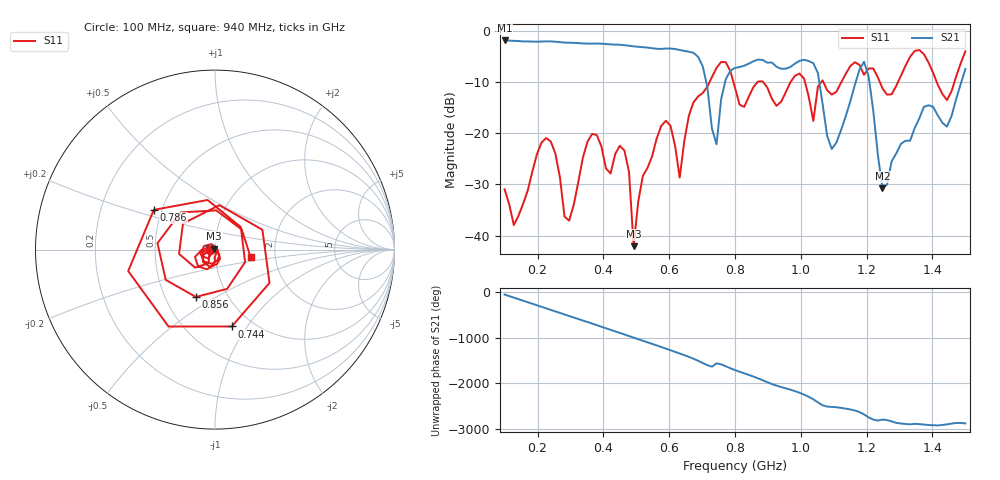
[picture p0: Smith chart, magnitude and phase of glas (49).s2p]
! NanoVNA-App
! Date: 2025-09-25 15:55:51
! Start: 100MHz Stop: 1,5GHz Points: 101
! S-Parameter data: F S11 S21 S12 S22
# Hz S RI R 50
!  Frequency  S11_Real  S11_Imag  S21_Real  S21_Imag  S12_Real  S12_Imag  S22_Real  S22_Imag
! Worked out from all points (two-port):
!   101 points, 100 MHz to 1.5 GHz, reference 50 ohm
!   highest |S21| = -1.80 dB at 100 MHz (marker M1); lowest = -30.7 dB at 1.248 GHz (marker M2)
!   |S21| within 3 dB of the highest: start of sweep to 684.1 MHz
!   lowest |S11| = -42.1 dB at 492 MHz (marker M3), VSWR 1.02, Z = 49.5 + j0.591 ohm
!   |S11| at or under -10 dB: start of sweep to 722.4 MHz; 795.4 MHz to 867.9 MHz (72.51 MHz wide, 8.72 % of centre); 886 MHz to 968.3 MHz (82.26 MHz wide, 8.87 % of centre) (the widest 3 of 7)
!   S12 and S22 are empty: the file has one direction only
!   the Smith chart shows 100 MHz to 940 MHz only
!   S11 on the Smith chart (normalised r, x): 100 MHz: 0.95, -0.01; 744 MHz: 0.80, -0.85; 786 MHz: 0.45, +0.24; 856 MHz: 0.71, -0.41; 940 MHz: 1.49, -0.14
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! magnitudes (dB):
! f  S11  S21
! 100 MHz  -31.0  -1.8
! 128 MHz  -38.0  -1.9
! 226 MHz  -20.9  -2.0
! 296 MHz  -37.1  -2.2
! 338 MHz  -24.7  -2.4
! 464 MHz  -23.4  -2.7
! 492 MHz  -42.1  -3.0
! 576 MHz  -18.5  -3.5
! 632 MHz  -28.7  -3.7
! 702 MHz  -12.1  -6.9
! 744 MHz  -7.2  -22.1
! 786 MHz  -7.8  -7.7
! 800 MHz  -11.1  -7.2
! 856 MHz  -10.9  -5.9
! 940 MHz  -13.8  -7.3
! 996 MHz  -8.3  -5.8
! 1.038 GHz  -17.6  -6.3
! 1.094 GHz  -12.4  -23.1
! 1.192 GHz  -8.5  -6.0
! 1.248 GHz  -11.2  -30.7
! 1.276 GHz  -12.3  -25.5
! 1.5 GHz  -3.9  -7.4
